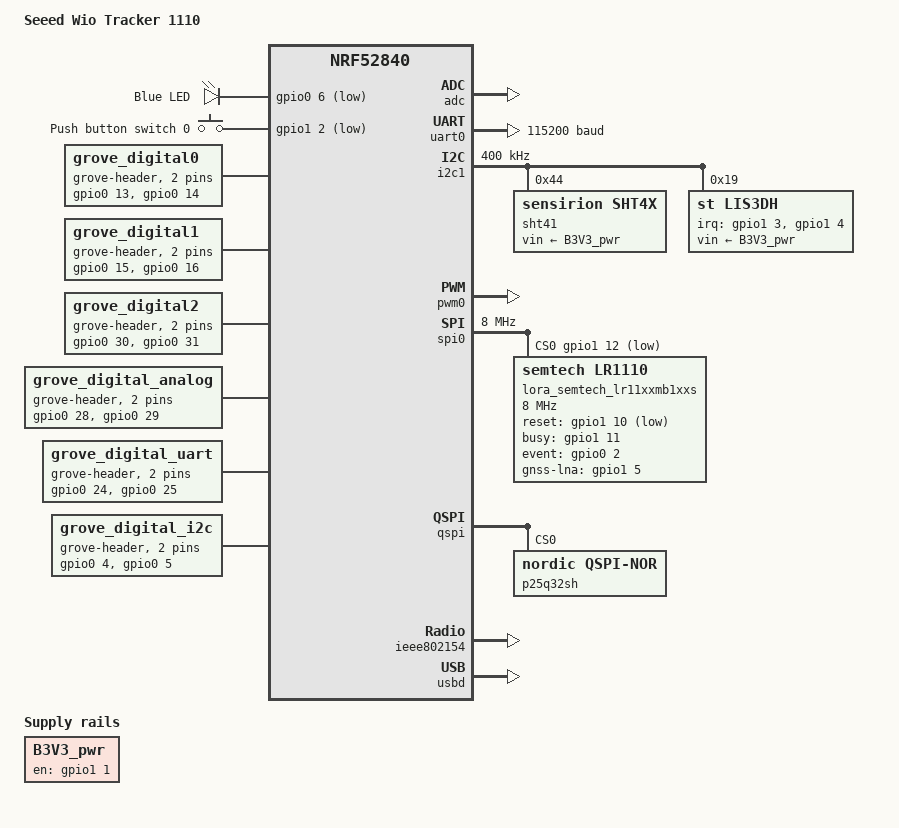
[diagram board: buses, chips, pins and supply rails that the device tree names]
/*
 * Copyright (c) 2017 Linaro Limited
 * Copyright (c) 2024 Seeed Studio
 *
 * SPDX-License-Identifier: Apache-2.0
 */

/dts-v1/;
#include <nordic/nrf52840_qiaa.dtsi>
#include <zephyr/dt-bindings/gpio/gpio.h>
#include <zephyr/dt-bindings/led/led.h>
#include "wio_tracker_1110_nrf52840-pinctrl.dtsi"
#include <zephyr/dt-bindings/i2c/i2c.h>
#include <zephyr/dt-bindings/lora_lbm/lr11xx.h>

/ {
	model = "Seeed Wio Tracker 1110";
	compatible = "seeed,wio-tracker-1110";

	chosen {
		zephyr,console = &usb_cdc_acm_uart;
		zephyr,shell-uart = &usb_cdc_acm_uart;
		nordic,pm-ext-flash = &p25q32sh;
		zephyr,sram = &sram0;
		zephyr,flash = &flash0;
		zephyr,code-partition = &slot0_partition;
		zephyr,ieee802154 = &ieee802154;
		zephyr,lora-transceiver = &lora_lr1110;
	};

	leds {
		compatible = "gpio-leds";
		led0: led_0 {
			gpios = <&gpio0 6 GPIO_ACTIVE_LOW>;
			label = "Blue LED";
		};
	};

	buttons {
		compatible = "gpio-keys";
		button0: button_0 {
			gpios = <&gpio1 2 (GPIO_PULL_UP | GPIO_ACTIVE_LOW)>;
			label = "Push button switch 0";
			zephyr,code = <11>;
		};
	};

	grove_digital0: grove_digital0 {
		compatible = "grove-header";
		#gpio-cells = <2>;
		gpio-map-mask = <0xffffffff 0xffffffc0>;
		gpio-map-pass-thru = <0 0x3f>;
		gpio-map = <0 0 &gpio0 13 0>,
				<1 0 &gpio0 14 0>;
	};

	grove_digital1: grove_digital1 {
		compatible = "grove-header";
		#gpio-cells = <2>;
		gpio-map-mask = <0xffffffff 0xffffffc0>;
		gpio-map-pass-thru = <0 0x3f>;
		gpio-map = <0 0 &gpio0 15 0>,
				<1 0 &gpio0 16 0>;
	};

	grove_digital2: grove_digital2 {
		compatible = "grove-header";
		#gpio-cells = <2>;
		gpio-map-mask = <0xffffffff 0xffffffc0>;
		gpio-map-pass-thru = <0 0x3f>;
		gpio-map = <0 0 &gpio0 30 0>,
				<1 0 &gpio0 31 0>;
	};

	grove_digital_analog: grove_digital_analog {
		compatible = "grove-header";
		#gpio-cells = <2>;
		gpio-map-mask = <0xffffffff 0xffffffc0>;
		gpio-map-pass-thru = <0 0x3f>;
		gpio-map = <0 0 &gpio0 28 0>,
				<1 0 &gpio0 29 0>;
	};

	grove_digital_uart: grove_digital_uart {
		compatible = "grove-header";
		#gpio-cells = <2>;
		gpio-map-mask = <0xffffffff 0xffffffc0>;
		gpio-map-pass-thru = <0 0x3f>;
		gpio-map = <0 0 &gpio0 24 0>,
				<1 0 &gpio0 25 0>;
	};

	grove_digital_i2c: grove_digital_i2c {
		compatible = "grove-header";
		#gpio-cells = <2>;
		gpio-map-mask = <0xffffffff 0xffffffc0>;
		gpio-map-pass-thru = <0 0x3f>;
		gpio-map = <0 0 &gpio0 4 0>,
				<1 0 &gpio0 5 0>;
	};

	/* Regulators */
	B3V3_pwr: grove_power_3v3_en {
		compatible = "regulator-fixed";
		regulator-name = "grove_headers_power_3v3_enable";
		enable-gpios = <&gpio1 1 GPIO_ACTIVE_HIGH>;
		regulator-boot-on;
		startup-delay-us = <20000>;
	};

	/* These aliases are provided for compatibility with samples */
	aliases {
		led0 = &led0;
		sw0 = &button0;
		button0 = &button0;
		watchdog0 = &wdt0;
		spi-flash0 = &p25q32sh;
		accel0 = &lis3dh;
		lora-transceiver = &lora_lr1110;
	};
};

&adc {
	status = "okay";
};

&gpiote {
	status = "okay";
};

&gpio0 {
	status = "okay";
};

&gpio1 {
	status = "okay";
};

grove_uart: &uart0 {
	compatible = "nordic,nrf-uarte";
	status = "okay";
	current-speed = <115200>;
	pinctrl-0 = <&uart0_default>;
	pinctrl-1 = <&uart0_sleep>;
	pinctrl-names = "default", "sleep";
};

grove_i2c: &i2c1 {
	compatible = "nordic,nrf-twim";
	status = "okay";
	pinctrl-0 = <&i2c1_default>;
	pinctrl-1 = <&i2c1_sleep>;
	pinctrl-names = "default", "sleep";
	clock-frequency = <I2C_BITRATE_FAST>;

	sht41: sht4x@44 {
		compatible = "sensirion,sht4x";
		reg = <0x44>;
		repeatability = <2>;
		vin-supply = <&B3V3_pwr>;
	};

	lis3dh: lis3dh@19 {
		compatible = "st,lis3dh", "st,lis2dh";
		reg = <0x19>;
		irq-gpios = <&gpio1 3 GPIO_ACTIVE_HIGH>,
				<&gpio1 4 GPIO_ACTIVE_HIGH>;
		vin-supply = <&B3V3_pwr>;
	};
};

&pwm0 {
	status = "okay";
	pinctrl-0 = <&pwm0_default>;
	pinctrl-1 = <&pwm0_sleep>;
	pinctrl-names = "default", "sleep";
};

sid_semtech: &spi0 {
	compatible = "nordic,nrf-spi";
	status = "okay";
	pinctrl-0 = <&spi0_default>;
	pinctrl-1 = <&spi0_sleep>;
	pinctrl-names = "default", "sleep";
	clock-frequency = <DT_FREQ_M(8)>;
	cs-gpios = <&gpio1 12 GPIO_ACTIVE_LOW>;

	lora_semtech_lr11xxmb1xxs: lora_lr1110: lora@0 {
		compatible = "semtech,lr1110";
		reg = <0>;
		spi-max-frequency = <DT_FREQ_M(8)>;

		reset-gpios = <&gpio1 10 GPIO_ACTIVE_LOW>;
		busy-gpios = <&gpio1 11 GPIO_ACTIVE_HIGH>;
		event-gpios = <&gpio0 2 (GPIO_ACTIVE_HIGH | GPIO_PULL_DOWN)>;
		gnss-lna-gpios = <&gpio1 5 GPIO_ACTIVE_HIGH>;

		lf-tx-path = <LR11XX_TX_PATH_LF_LP_HP>;
		lf-clk = <LR11XX_LFCLK_XTAL>;
		reg-mode = <LR11XX_REG_MODE_DCDC>;

		rf-sw-enable = <(LR11XX_DIO5 | LR11XX_DIO6 | LR11XX_DIO7)>;
		rf-sw-rx-mode = <LR11XX_DIO5>;
		rf-sw-tx-mode = <(LR11XX_DIO5 | LR11XX_DIO6)>;
		rf-sw-tx-hp-mode = <LR11XX_DIO6>;
		rf-sw-gnss-mode = <LR11XX_DIO7>;

		tcxo-voltage = <LR11XX_TCXO_SUPPLY_1_8V>;
		tcxo-wakeup-time = <5>;

		tx-power-cfg-lf-lp =
			< (-15) 0x00 0x00>,
			< (-14) 0x00 0x00>,
			< (-13) 0x00 0x00>,
			< (-12) 0x00 0x00>,
			< (-11) 0x00 0x00>,
			<  (-9) 0x00 0x00>,
			<  (-8) 0x00 0x00>,
			<  (-7) 0x00 0x00>,
			<  (-6) 0x00 0x00>,
			<  (-5) 0x00 0x00>,
			<  (-4) 0x00 0x00>,
			<  (-3) 0x00 0x00>,
			<  (-2) 0x00 0x00>,
			<  (-1) 0x00 0x00>,
			<  ( 0) 0x00 0x00>,
			<  ( 1) 0x00 0x00>,
			<  ( 2) 0x00 0x00>,
			<  ( 3) 0x00 0x00>,
			<  ( 3) 0x01 0x00>,
			<  ( 4) 0x01 0x00>,
			<  ( 7) 0x00 0x00>,
			<  ( 8) 0x00 0x00>,
			<  ( 9) 0x00 0x00>,
			< ( 10) 0x00 0x00>,
			< ( 12) 0x00 0x00>,
			< ( 13) 0x00 0x00>,
			< ( 14) 0x00 0x00>,
			< ( 13) 0x01 0x00>,
			< ( 13) 0x02 0x00>,
			< ( 14) 0x02 0x00>,
			< ( 14) 0x03 0x00>,
			< ( 14) 0x04 0x00>,
			< ( 14) 0x07 0x00>;

		tx-power-cfg-lf-hp =
			< (  9) 0x00 0x00>,
			< ( 10) 0x00 0x00>,
			< ( 11) 0x00 0x00>,
			< ( 12) 0x00 0x00>,
			< ( 13) 0x00 0x00>,
			< ( 13) 0x01 0x00>,
			< ( 13) 0x02 0x00>,
			< ( 17) 0x02 0x00>,
			< ( 14) 0x04 0x00>,
			< ( 12) 0x00 0x01>,
			< ( 13) 0x00 0x01>,
			< ( 13) 0x01 0x01>,
			< ( 13) 0x02 0x01>,
			< ( 15) 0x00 0x02>,
			< ( 15) 0x04 0x01>,
			< ( 14) 0x02 0x02>,
			< ( 14) 0x01 0x03>,
			< ( 17) 0x04 0x02>,
			< ( 22) 0x00 0x01>,
			< ( 22) 0x01 0x01>,
			< ( 22) 0x02 0x01>,
			< ( 22) 0x03 0x01>,
			< ( 22) 0x00 0x03>,
			< ( 22) 0x01 0x03>,
			< ( 22) 0x04 0x02>,
			< ( 22) 0x01 0x04>,
			< ( 22) 0x02 0x04>,
			< ( 22) 0x01 0x06>,
			< ( 22) 0x03 0x05>,
			< ( 22) 0x03 0x07>,
			< ( 22) 0x04 0x06>,
			< ( 22) 0x04 0x07>;

		tx-power-cfg-hf =
			< (-18) 0x04 0x00>,
			< (-18) 0x04 0x00>,
			< (-17) 0x04 0x00>,
			< (-16) 0x04 0x00>,
			< (-15) 0x04 0x00>,
			< (-14) 0x04 0x00>,
			< (-14) 0x04 0x00>,
			< (-12) 0x04 0x00>,
			< (-10) 0x04 0x00>,
			< ( -9) 0x04 0x00>,
			< ( -8) 0x04 0x00>,
			< ( -7) 0x04 0x00>,
			< ( -6) 0x04 0x00>,
			< ( -5) 0x04 0x00>,
			< ( -4) 0x04 0x00>,
			< ( -3) 0x04 0x00>,
			< ( -2) 0x03 0x00>,
			< ( -1) 0x04 0x00>,
			< (  0) 0x04 0x00>,
			< (  1) 0x00 0x00>,
			< (  2) 0x00 0x00>,
			< (  4) 0x04 0x00>,
			< (  5) 0x04 0x00>,
			< (  6) 0x04 0x00>,
			< (  7) 0x04 0x00>,
			< (  8) 0x04 0x00>,
			< (  9) 0x04 0x00>,
			< ( 10) 0x04 0x00>,
			< ( 11) 0x04 0x00>,
			< ( 12) 0x03 0x00>,
			< ( 13) 0x04 0x00>,
			< ( 13) 0x00 0x00>;

		rssi-calibration-lf-offset = <0>;
		rssi-calibration-lf-tune = <12 12 14 0 1 3 4 4 3 6 6 6 6 6 6 6 6>;

		rssi-calibration-mf-offset = <0>;
		rssi-calibration-mf-tune = <2 2 2 3 3 4 5 4 4 6 5 5 6 6 6 7 6>;

		rssi-calibration-hf-offset = <2030>;
		rssi-calibration-hf-tune = <6 7 6 4 3 4 14 12 14 12 12 12 12 8 8 9 9>;
	};
};

&qspi {
	status = "okay";
	pinctrl-0 = <&qspi_default>;
	pinctrl-1 = <&qspi_sleep>;
	pinctrl-names = "default", "sleep";
	p25q32sh: p25q32sh@0 {
		compatible = "nordic,qspi-nor";
		reg = <0>;
		sck-frequency = <100000000>;
		quad-enable-requirements = "S2B1v1";
		jedec-id = [85 60 16];
		sfdp-bfp = [
			e5 20 f1 ff  ff ff ff 00  44 eb 08 6b  08 3b 80 bb
			ee ff ff ff  ff ff 00 ff  ff ff 00 ff  0c 20 0f 52
			10 d8 08 81
		];
		size = <33554432>;
		has-dpd;
		t-enter-dpd = <3000>;
		t-exit-dpd = <8000>;
	};
};

&ieee802154 {
	status = "okay";
};

&flash0 {
	partitions {
		compatible = "fixed-partitions";
		#address-cells = <1>;
		#size-cells = <1>;

		boot_mbr_partition: partition@0 {
			label = "boot_mbr";
			reg = <0x00000000 0x00001000>;
		};

		slot0_partition: partition@1000 {
			label = "code";
			reg = <0x00001000 0x000cf000>;
		};

		mfg_storage: partition@d0000 {
			label = "mfg_storage";
			reg = <0x000d0000 0x00001000>;
		};

		sidewalk_storage: partition@d1000 {
			label = "sidewalk_storage";
			reg = <0x000d1000 0x00001000>;
		};

		storage_partition: partition@d2000 {
			label = "storage";
			reg = <0x000d2000 0x00010000>;
		};

		hw_unique_key_partition: partition@f3000 {
			label = "hw_unique_key";
			reg = <0x000f3000 0x00001000>;
		};

		bootloader_partition: partition@f4000 {
			label = "bootloader";
			reg = <0x000f4000 0x00008000>;
		};

		bootloader_mbr_params_partition: partition@fe000 {
			label = "bootloader_mbr_params";
			reg = <0x000fe000 0x00001000>;
		};

		bootloader_settings_partition: partition@ff000 {
			label = "bootloader_settings";
			reg = <0x000ff000 0x00001000>;
		};
	};
};

zephyr_udc0: &usbd {
	compatible = "nordic,nrf-usbd";
	status = "okay";

	usb_cdc_acm_uart: cdc-acm-uart {
		compatible = "zephyr,cdc-acm-uart";
	};
};
